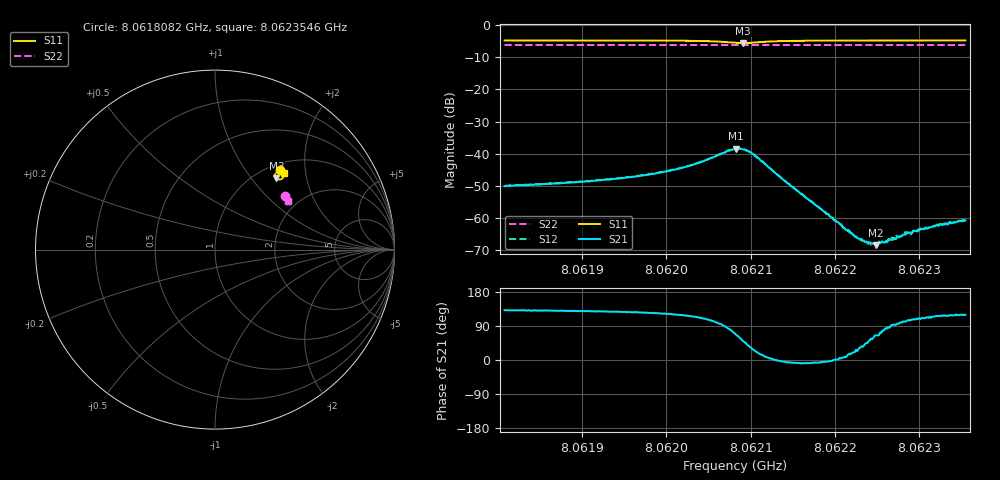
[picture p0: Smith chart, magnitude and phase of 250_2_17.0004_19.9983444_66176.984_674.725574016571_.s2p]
#  HZ  S  RI  R  50.00
! Rohde & Schwarz Vector Network Analyzer
! Rohde-Schwarz,ZNB20-2Port,1311601062101988,3.16
! Created: UTC 3/20/2024, 11:03:14 PM
! freq[Hz]  re:S11  im:S11  re:S21  im:S21  re:S12  im:S12  re:S22  im:S22
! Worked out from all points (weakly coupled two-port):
!   401 points, 8.0618082 GHz to 8.0623546 GHz, reference 50 ohm
!   highest |S21| = -38.47 dB at 8.0620828 GHz (marker M1); lowest = -68.4 dB at 8.062248 GHz (marker M2)
!   lowest |S11| = -5.6 dB at 8.0620909 GHz (marker M3), VSWR 3.20, Z = 61.4 + j67.3 ohm
!   |S11| at or under -10 dB: nowhere
!   |S22| runs from -6.2 to -6.2 dB; largest |S21 - S12| = 0.00089
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8.0618082e9  0.3646 0.4457  -0.00207 0.00233  -0.00197 0.00254  0.3904 0.2969
8.06189971e9  0.3713 0.4397  -0.00232 0.00284  -0.00218 0.003  0.3937 0.2924
8.06195982e9  0.3762 0.4341  -0.00256 0.00354  -0.00243 0.0037  0.3957 0.2891
8.06199123e9  0.3793 0.4298  -0.00275 0.00422  -0.00254 0.00444  0.3969 0.2874
8.06202811e9  0.3828 0.4208  -0.00285 0.00587  -0.00258 0.00609  0.398 0.2853
8.06208139e9  0.3581 0.3905  0.00413 0.0111  0.00486 0.0109  0.3982 0.2819
8.06208275e9  0.3556 0.3909  0.00475 0.0109  0.00541 0.0108  0.3982 0.2821
8.06209095e9  0.3423 0.3972  0.00747 0.0089  0.00797 0.00866  0.398 0.282
8.06209778e9  0.3356 0.4076  0.00863 0.0066  0.00899 0.0059  0.398 0.2824
8.06210461e9  0.3348 0.4185  0.00846 0.00391  0.00896 0.00351  0.3985 0.2825
8.06214149e9  0.3559 0.4392  0.00366 -0.000328  0.00367 -0.000505  0.4008 0.2814
8.0621729e9  0.3663 0.4387  0.00176 -0.000238  0.00175 -0.000331  0.4022 0.2798
8.06222481e9  0.3752 0.4351  0.000459 0.000237  0.000472 0.000178  0.4043 0.2771
8.06223574e9  0.3764 0.4343  0.00031 0.000285  0.000326 0.000249  0.4044 0.2763
8.06224803e9  0.3777 0.4334  0.00016 0.000345  0.000186 0.000365  0.405 0.2758
8.06225896e9  0.3789 0.4329  6.58e-05 0.000418  9.82e-05 0.00039  0.4055 0.2752
8.06226442e9  0.3794 0.4325  4.2e-05 0.00045  3.52e-05 0.000474  0.4056 0.275
8.06227945e9  0.3809 0.4316  -8.24e-05 0.000519  -6.19e-05 0.000517  0.406 0.2741
8.06228355e9  0.3811 0.4312  -0.000106 0.000544  -6.72e-05 0.000608  0.4061 0.2739
8.06229174e9  0.3818 0.4307  -0.00017 0.000579  -0.000119 0.000591  0.4065 0.2734
8.06230404e9  0.3827 0.43  -0.000242 0.000631  -0.000237 0.000622  0.4069 0.2728
8.06235458e9  0.3866 0.4271  -0.000447 0.00081  -0.000417 0.000826  0.4085 0.2703
